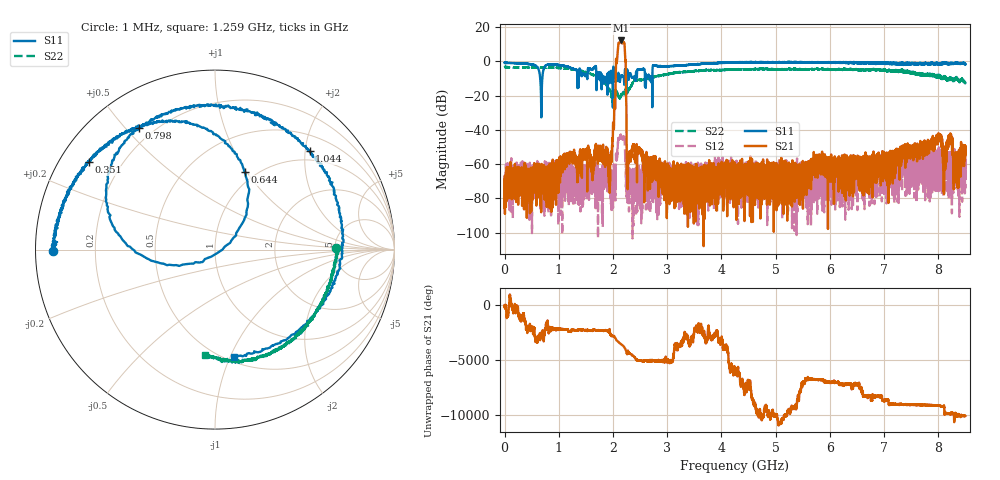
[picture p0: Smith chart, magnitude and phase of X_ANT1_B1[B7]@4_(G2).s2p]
#  HZ  S  RI  R  50.00
! Rohde & Schwarz Vector Network Analyzer
! Rohde-Schwarz,ZNBT8-20Port,1318700624101681,3.50
! Created: UTC 7/15/2025, 2:13:57 PM
! freq[Hz]  re:S1010  im:S1010  re:S0410  im:S0410  re:S1004  im:S1004  re:S44  im:S44
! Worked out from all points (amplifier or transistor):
!   8500 points, 1 MHz to 8.5 GHz, reference 50 ohm
!   highest |S21| = 12.2 dB at 2.144 GHz (marker M1)
!   |S21| within 3 dB of that: 2.095 GHz to 2.215 GHz (120.2 MHz wide, 5.58 % of centre)
!   unconditionally stable (mu >= 1): start of sweep to end of sweep
!   at 1.417 GHz: K = 3836133.38, MAG = -57.2 dB, |S12| = -82.6 dB
!   at 4.251 GHz: K = 126351.53, MAG = -51.9 dB, |S12| = -66.2 dB
!   at 8.5 GHz: K = 107926.84, MAG = -48.8 dB, |S12| = -62.8 dB
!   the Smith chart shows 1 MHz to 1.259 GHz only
!   S11 on the Smith chart (normalised r, x): 1 MHz: 0.05, -0.00; 351 MHz: 0.09, +0.31; 644 MHz: 0.89, +0.98; 798 MHz: 0.15, +0.55; 1.044 GHz: 0.80, +2.09; 1.259 GHz: 0.54, -1.03
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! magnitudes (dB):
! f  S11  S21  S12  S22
! 1 MHz  -0.9  -69.6  -69.9  -3.4
! 351 MHz  -1.4  -75.1  -67.8  -3.6
! 644 MHz  -6.7  -66.0  -73.4  -3.6
! 798 MHz  -2.0  -67.5  -64.4  -3.7
! 1.044 GHz  -2.4  -57.3  -67.9  -4.0
! 1.259 GHz  -4.3  -53.0  -65.1  -4.6
! 1.418 GHz  -8.3  -56.6  -65.9  -5.7
! 1.939 GHz  -10.7  -64.8  -72.9  -16.8
! 2.008 GHz  -3.2  -36.5  -65.0  -22.9
! 2.089 GHz  -8.8  6.8  -48.8  -19.7
! 2.144 GHz  -8.8  12.2  -44.4  -20.0
! 2.205 GHz  -11.6  10.7  -44.8  -18.5
! 2.292 GHz  -10.5  -54.3  -74.9  -16.6
! 2.834 GHz  -2.8  -63.0  -76.5  -8.6
! 4.251 GHz  -0.7  -62.0  -66.2  -4.8
! 5.667 GHz  -0.4  -67.4  -65.1  -4.4
! 7.084 GHz  -1.1  -57.5  -65.4  -5.3
! 8.011 GHz  -1.3  -43.5  -56.8  -9.0
! 8.117 GHz  -0.7  -61.0  -55.9  -9.1
! 8.223 GHz  -1.5  -42.1  -52.3  -9.4
! 8.317 GHz  -1.2  -60.7  -56.3  -10.3
! 8.5 GHz  -1.8  -53.6  -62.8  -12.2
